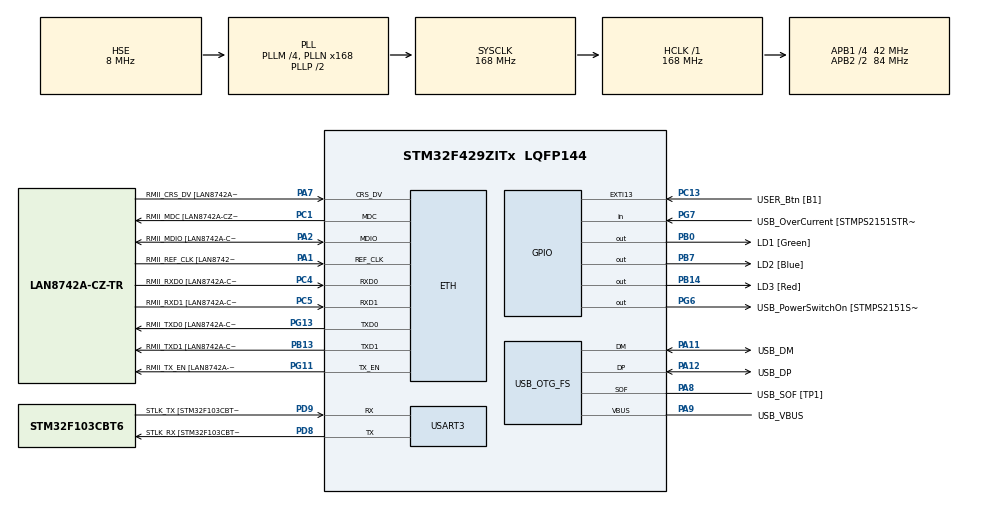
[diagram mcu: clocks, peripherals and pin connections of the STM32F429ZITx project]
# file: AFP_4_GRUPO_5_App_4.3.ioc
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ETH.MediaInterface=HAL_ETH_RMII_MODE
ETH.PHY_Name=LAN8742A_PHY_ADDRESS
ETH.PHY_Value=0
ETH.PhyAddress=0
Mcu.Family=STM32F4
Mcu.Name=STM32F429ZITx
Mcu.Package=LQFP144
NVIC.PriorityGroup=NVIC_PRIORITYGROUP_4
PA1.GPIO_Label=RMII_REF_CLK [LAN8742A-CZ-TR_REFCLK0]
PA1.Mode=RMII
PA1.Signal=ETH_REF_CLK
PA10.GPIO_Label=USB_ID
PA10.Signal=USB_OTG_FS_ID
PA11.GPIO_Label=USB_DM
PA11.Mode=Device_Only
PA11.Signal=USB_OTG_FS_DM
PA12.GPIO_Label=USB_DP
PA12.Mode=Device_Only
PA12.Signal=USB_OTG_FS_DP
PA13.GPIO_Label=TMS
PA13.Mode=Serial_Wire
PA13.Signal=SYS_JTMS-SWDIO
PA14.GPIO_Label=TCK
PA14.Mode=Serial_Wire
PA14.Signal=SYS_JTCK-SWCLK
PA2.GPIO_Label=RMII_MDIO [LAN8742A-CZ-TR_MDIO]
PA2.Mode=RMII
PA2.Signal=ETH_MDIO
PA7.GPIO_Label=RMII_CRS_DV [LAN8742A-CZ-TR_CRS_DV]
PA7.Mode=RMII
PA7.Signal=ETH_CRS_DV
PA8.GPIO_Label=USB_SOF [TP1]
PA8.Mode=Activate_SOF_FS
PA8.Signal=USB_OTG_FS_SOF
PA9.GPIO_Label=USB_VBUS
PA9.Mode=Activate_VBUS
PA9.Signal=USB_OTG_FS_VBUS
PB0.GPIO_Label=LD1 [Green]
PB0.Signal=GPIO_Output
PB13.GPIO_Label=RMII_TXD1 [LAN8742A-CZ-TR_TXD1]
PB13.Mode=RMII
PB13.Signal=ETH_TXD1
PB14.GPIO_Label=LD3 [Red]
PB14.Signal=GPIO_Output
PB7.GPIO_Label=LD2 [Blue]
PB7.Signal=GPIO_Output
PC1.GPIO_Label=RMII_MDC [LAN8742A-CZ-TR_MDC]
PC1.Mode=RMII
PC1.Signal=ETH_MDC
PC13.GPIO_Label=USER_Btn [B1]
PC13.Signal=GPXTI13
PC14/OSC32_IN.Mode=LSE-External-Oscillator
PC14/OSC32_IN.Signal=RCC_OSC32_IN
PC15/OSC32_OUT.Mode=LSE-External-Oscillator
PC15/OSC32_OUT.Signal=RCC_OSC32_OUT
PC4.GPIO_Label=RMII_RXD0 [LAN8742A-CZ-TR_RXD0]
PC4.Mode=RMII
PC4.Signal=ETH_RXD0
PC5.GPIO_Label=RMII_RXD1 [LAN8742A-CZ-TR_RXD1]
PC5.Mode=RMII
PC5.Signal=ETH_RXD1
PD8.GPIO_Label=STLK_RX [STM32F103CBT6_PA3]
PD8.Mode=Asynchronous
PD8.Signal=USART3_TX
PD9.GPIO_Label=STLK_TX [STM32F103CBT6_PA2]
PD9.Mode=Asynchronous
PD9.Signal=USART3_RX
PG11.GPIO_Label=RMII_TX_EN [LAN8742A-CZ-TR_TXEN]
PG11.Mode=RMII
PG11.Signal=ETH_TX_EN
PG13.GPIO_Label=RMII_TXD0 [LAN8742A-CZ-TR_TXD0]
PG13.Mode=RMII
PG13.Signal=ETH_TXD0
PG6.GPIO_Label=USB_PowerSwitchOn [STMPS2151STR_EN]
PG6.Signal=GPIO_Output
PG7.GPIO_Label=USB_OverCurrent [STMPS2151STR_FAULT]
PG7.Signal=GPIO_Input
PH0/OSC_IN.GPIO_Label=MCO [STM32F103CBT6_PA8]
PH0/OSC_IN.Mode=HSE-External-Clock-Source
PH0/OSC_IN.Signal=RCC_OSC_IN
PH1/OSC_OUT.Mode=HSE-External-Clock-Source
PH1/OSC_OUT.Signal=RCC_OSC_OUT
ProjectManager.HeapSize=0x200
ProjectManager.StackSize=0x400
ProjectManager.TargetToolchain=STM32CubeIDE
RCC.48MHZClocksFreq_Value=48000000
RCC.AHBFreq_Value=168000000
RCC.APB1CLKDivider=RCC_HCLK_DIV4
RCC.APB1Freq_Value=42000000
RCC.APB1TimFreq_Value=84000000
RCC.APB2CLKDivider=RCC_HCLK_DIV2
RCC.APB2Freq_Value=84000000
RCC.APB2TimCLKDivider=2
RCC.APB2TimFreq_Value=168000000
RCC.CortexFreq_Value=168000000
RCC.HCLKFreq_Value=168000000
RCC.HSE_VALUE=8000000
RCC.HSI_VALUE=16000000
RCC.PLLM=4
RCC.PLLMUL=RCC_PLL_MUL9
RCC.PLLN=168
RCC.PLLQ=7
RCC.PRESCALERUSB=RCC_USBCLKSOURCE_PLL_DIV1_5
RCC.SYSCLKFreq_VALUE=168000000
RCC.SYSCLKSource=RCC_SYSCLKSOURCE_PLLCLK
RCC.SYSCLKSourceVirtual=RCC_SYSCLKSOURCE_PLLCLK
RCC.USBFreq_Value=48000000
RCC.VCOOutputFreq_Value=336000000
USART3.VirtualMode=VM_ASYNC
USB_OTG_FS.VirtualMode=Device_Only
board=NUCLEO-F429ZI

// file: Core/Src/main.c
/* USER CODE BEGIN Header */
/**
  ******************************************************************************
  * @file           : main.c
  * @brief          : Main program body
  ******************************************************************************
  * @attention
  *
  * Copyright (c) 2024 STMicroelectronics.
  * All rights reserved.
  *
  * This software is licensed under terms that can be found in the LICENSE file
  * in the root directory of this software component.
  * If no LICENSE file comes with this software, it is provided AS-IS.
  *
  ******************************************************************************
  */
/* USER CODE END Header */
#include "main.h"
#include "string.h"
#include "API_debounce.h"
#include "API_GPIO.h"
#include "API_Delay.h"

ETH_TxPacketConfig TxConfig;
ETH_DMADescTypeDef  DMARxDscrTab[ETH_RX_DESC_CNT]; /* Ethernet Rx DMA Descriptors */
ETH_DMADescTypeDef  DMATxDscrTab[ETH_TX_DESC_CNT]; /* Ethernet Tx DMA Descriptors */

ETH_HandleTypeDef heth;

UART_HandleTypeDef huart3;

PCD_HandleTypeDef hpcd_USB_OTG_FS;

void SystemClock_Config(void);
void MX_GPIO_Init(void);
static void MX_ETH_Init(void);
static void MX_USART3_UART_Init(void);
static void MX_USB_OTG_FS_PCD_Init(void);

/* USER CODE BEGIN 0 */

int main(void)
{

  /* MCU Configuration--------------------------------------------------------*/

  /* Reset of all peripherals, Initializes the Flash interface and the Systick. */
  HAL_Init();

  /* Configure the system clock */
  SystemClock_Config();

  /* Initialize all configured peripherals */
  MX_GPIO_Init();
  MX_ETH_Init();
  MX_USART3_UART_Init();
  MX_USB_OTG_FS_PCD_Init();
  /* USER CODE BEGIN 2 */

  uint16_t vector_leds[CANT_LEDS] = {LD1_Pin, LD2_Pin, LD3_Pin};  //Vector que contiene los pines de los leds
  uint8_t secuencia_actual = 0;	// variable que indica que secuencia se esta ejecutando, sus valores van entre 1 y 4.

  /* Aqui se crea los elementos de tipo delay_t que se utilizaran para controlar los distintos delays de las secuencias */
  delay_t tiempo_sec1;
  delay_t tiempo_sec2;
  delay_t tiempo_sec3_led1;
  delay_t tiempo_sec3_led2;
  delay_t tiempo_sec3_led3;//en la secuencia 3, hay varios elementos delay_t debido a que cada led tiene un delay de distinto tiempo
  delay_t tiempo_sec4;

  /* Aqui se establece el tiempo de duracion de cada delay*/
  delayInit(&tiempo_sec1, 150);
  delayInit(&tiempo_sec2, 300);
  delayInit(&tiempo_sec3_led1, 100);
  delayInit(&tiempo_sec3_led2, 300);
  delayInit(&tiempo_sec3_led3, 600);
  delayInit(&tiempo_sec4, 150);

  /* Variables para el manejo de los led de cada secuencia */
  uint8_t led_actual = 0;
  bool_t estado_led = false; // Almacena en que fase de la secuencia se encuentra el led. true-> Encendido, false-> Apagado.

  debounceFSM_Init();

  /* USER CODE END 2 */

  /* Infinite loop */
  /* USER CODE BEGIN WHILE */
  while (1)
  {
	  debounceFSM_Update();
	  if(readKey()){
		  switch(secuencia_actual){
			  case 0:
				  for(int i=0;i<CANT_LEDS;i++){
					  writeLedOff_GPIO(vector_leds[i]);
				  }
				  secuencia_actual += 1;
				  break;
			  case 1:
				  for(int i=0;i<CANT_LEDS;i++){
					  writeLedOff_GPIO(vector_leds[i]);
				  }
				  secuencia_actual += 1;
				  break;
			  case 2:
				  for(int i=0;i<CANT_LEDS;i++){
					  if(i%2){
						  writeLedOn_GPIO(vector_leds[i]);
					  }else{
						  writeLedOff_GPIO(vector_leds[i]);
					  }
				  }
				  secuencia_actual += 1;
				  break;
			  case 3:
				  for(int i=0;i<CANT_LEDS;i++){
					  writeLedOff_GPIO(vector_leds[i]);
				  }
				  secuencia_actual = 0;
				  break;
			  default:
				  for(int i=0;i<CANT_LEDS;i++){
					  if(i%2){
						  writeLedOff_GPIO(vector_leds[i]);
					  }else{
						  writeLedOn_GPIO(vector_leds[i]);
					  }
				  }
				  writeLedOn_GPIO(LD2_Pin);
				  break;
		  }
	  }

	  switch(secuencia_actual){
		  case 0:
			  if(delayRead(&tiempo_sec1)){
				  if(estado_led){
					  writeLedOff_GPIO(vector_leds[led_actual]);

					  /* Seleccionar el siguiente led de la secuencia*/
					  if(led_actual == (CANT_LEDS-1)){
						  led_actual = 0;
					  }else{
						  led_actual++;
					  }

					  estado_led = false;
				  }else{
					  writeLedOn_GPIO(vector_leds[led_actual]);
					  estado_led = true;
				  }
			  }
			  break;
		  case 1:
			  if(delayRead(&tiempo_sec2)){
				  if(estado_led){
					  for(int i=0;i<CANT_LEDS;i++){
						  writeLedOff_GPIO(vector_leds[i]);
					  }
					  estado_led = false;
				  }else{
					  for(int i=0;i<CANT_LEDS;i++){
						  writeLedOn_GPIO(vector_leds[i]);
					  }
					  estado_led = true;
				  }
			  }
			  break;
		  case 2:
			  if(delayRead(&tiempo_sec3_led1)){
				  toggleLed_GPIO(vector_leds[0]);
			  }
			  if(delayRead(&tiempo_sec3_led2)){
				  toggleLed_GPIO(vector_leds[1]);
			  }
			  if(delayRead(&tiempo_sec3_led3)){
				  toggleLed_GPIO(vector_leds[2]);
			  }
			  break;
		  case 3:
			  if(delayRead(&tiempo_sec4)){
				  if(estado_led){
					  for(int i=0;i<CANT_LEDS;i++){
						  toggleLed_GPIO(vector_leds[i]);
					  }
					  estado_led = false;
				  }else{
					  for(int i=0;i<CANT_LEDS;i++){
						  toggleLed_GPIO(vector_leds[i]);
					  }
					  estado_led = true;
				  }
			  }
			  break;
		  default:
			  break;
	  }

    /* USER CODE END WHILE */

  }
}

void SystemClock_Config(void)
{
  RCC_OscInitTypeDef RCC_OscInitStruct = {0};
  RCC_ClkInitTypeDef RCC_ClkInitStruct = {0};

  /** Configure the main internal regulator output voltage
  */
  __HAL_RCC_PWR_CLK_ENABLE();
  __HAL_PWR_VOLTAGESCALING_CONFIG(PWR_REGULATOR_VOLTAGE_SCALE1);

  /** Initializes the RCC Oscillators according to the specified parameters
  * in the RCC_OscInitTypeDef structure.
  */
  RCC_OscInitStruct.OscillatorType = RCC_OSCILLATORTYPE_HSE;
  RCC_OscInitStruct.HSEState = RCC_HSE_BYPASS;
  RCC_OscInitStruct.PLL.PLLState = RCC_PLL_ON;
  RCC_OscInitStruct.PLL.PLLSource = RCC_PLLSOURCE_HSE;
  RCC_OscInitStruct.PLL.PLLM = 4;
  RCC_OscInitStruct.PLL.PLLN = 168;
  RCC_OscInitStruct.PLL.PLLP = RCC_PLLP_DIV2;
  RCC_OscInitStruct.PLL.PLLQ = 7;
  if (HAL_RCC_OscConfig(&RCC_OscInitStruct) != HAL_OK)
  {
    Error_Handler();
  }

  /** Initializes the CPU, AHB and APB buses clocks
  */
  RCC_ClkInitStruct.ClockType = RCC_CLOCKTYPE_HCLK|RCC_CLOCKTYPE_SYSCLK
                              |RCC_CLOCKTYPE_PCLK1|RCC_CLOCKTYPE_PCLK2;
  RCC_ClkInitStruct.SYSCLKSource = RCC_SYSCLKSOURCE_PLLCLK;
  RCC_ClkInitStruct.AHBCLKDivider = RCC_SYSCLK_DIV1;
  RCC_ClkInitStruct.APB1CLKDivider = RCC_HCLK_DIV4;
  RCC_ClkInitStruct.APB2CLKDivider = RCC_HCLK_DIV2;

  if (HAL_RCC_ClockConfig(&RCC_ClkInitStruct, FLASH_LATENCY_5) != HAL_OK)
  {
    Error_Handler();
  }
}

static void MX_ETH_Init(void)
{

   static uint8_t MACAddr[6];

  heth.Instance = ETH;
  MACAddr[0] = 0x00;
  MACAddr[1] = 0x80;
  MACAddr[2] = 0xE1;
  MACAddr[3] = 0x00;
  MACAddr[4] = 0x00;
  MACAddr[5] = 0x00;
  heth.Init.MACAddr = &MACAddr[0];
  heth.Init.MediaInterface = HAL_ETH_RMII_MODE;
  heth.Init.TxDesc = DMATxDscrTab;
  heth.Init.RxDesc = DMARxDscrTab;
  heth.Init.RxBuffLen = 1524;

  if (HAL_ETH_Init(&heth) != HAL_OK)
  {
    Error_Handler();
  }

  memset(&TxConfig, 0 , sizeof(ETH_TxPacketConfig));
  TxConfig.Attributes = ETH_TX_PACKETS_FEATURES_CSUM | ETH_TX_PACKETS_FEATURES_CRCPAD;
  TxConfig.ChecksumCtrl = ETH_CHECKSUM_IPHDR_PAYLOAD_INSERT_PHDR_CALC;
  TxConfig.CRCPadCtrl = ETH_CRC_PAD_INSERT;

}

static void MX_USART3_UART_Init(void)
{

  huart3.Instance = USART3;
  huart3.Init.BaudRate = 115200;
  huart3.Init.WordLength = UART_WORDLENGTH_8B;
  huart3.Init.StopBits = UART_STOPBITS_1;
  huart3.Init.Parity = UART_PARITY_NONE;
  huart3.Init.Mode = UART_MODE_TX_RX;
  huart3.Init.HwFlowCtl = UART_HWCONTROL_NONE;
  huart3.Init.OverSampling = UART_OVERSAMPLING_16;
  if (HAL_UART_Init(&huart3) != HAL_OK)
  {
    Error_Handler();
  }

}

static void MX_USB_OTG_FS_PCD_Init(void)
{

  hpcd_USB_OTG_FS.Instance = USB_OTG_FS;
  hpcd_USB_OTG_FS.Init.dev_endpoints = 4;
  hpcd_USB_OTG_FS.Init.speed = PCD_SPEED_FULL;
  hpcd_USB_OTG_FS.Init.dma_enable = DISABLE;
  hpcd_USB_OTG_FS.Init.phy_itface = PCD_PHY_EMBEDDED;
  hpcd_USB_OTG_FS.Init.Sof_enable = ENABLE;
  hpcd_USB_OTG_FS.Init.low_power_enable = DISABLE;
  hpcd_USB_OTG_FS.Init.lpm_enable = DISABLE;
  hpcd_USB_OTG_FS.Init.vbus_sensing_enable = ENABLE;
  hpcd_USB_OTG_FS.Init.use_dedicated_ep1 = DISABLE;
  if (HAL_PCD_Init(&hpcd_USB_OTG_FS) != HAL_OK)
  {
    Error_Handler();
  }

}

void Error_Handler(void)
{
  __disable_irq();
  while (1)
  {
  }
}
